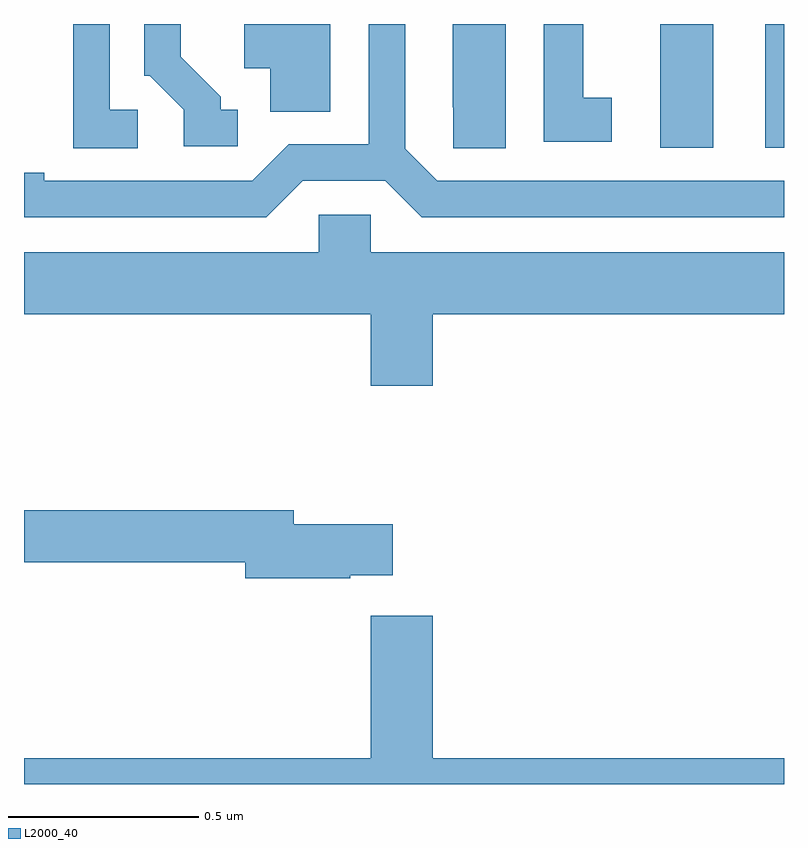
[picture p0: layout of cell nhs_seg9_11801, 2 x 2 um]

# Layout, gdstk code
import gdstk
lib = gdstk.Library(unit=1e-6, precision=1e-09)
def R(c, l, rs):  # rectangles x0, y0, x1, y1
    for r in rs: c.add(gdstk.rectangle(r[:2], r[2:], *l))
def P(c, l, *ps):  # polygons
    for p in ps: c.add(gdstk.Polygon(p, *l))
L2000_40 = (2000, 40)

nhs_seg9_11801 = lib.new_cell('nhs_seg9_11801')
R(nhs_seg9_11801, L2000_40, [(261.674,1214.175,261.814,1214.5), (261.95,1214.175,262,1214.5)])
P(nhs_seg9_11801, L2000_40, [(261.268,1214.5),(261.128,1214.5),(261.128,1214.281),(261.129,1214.281),(261.129,1214.173),(261.268,1214.173)],
  [(260.806,1214.5),(260.579,1214.5),(260.579,1214.384),(260.648,1214.384),(260.648,1214.269),(260.806,1214.269)],
  [(260.299,1214.274),(260.226,1214.274),(260.226,1214.5),(260.129,1214.5),(260.129,1214.173),(260.299,1214.173)],
  [(260.563,1214.274),(260.518,1214.274),(260.518,1214.309),(260.413,1214.414),(260.413,1214.5),(260.316,1214.5),(260.316,1214.364),(260.331,1214.364),(260.421,1214.274),(260.421,1214.178),(260.563,1214.178)],
  [(261.547,1214.306),(261.472,1214.306),(261.472,1214.5),(261.368,1214.5),(261.368,1214.19),(261.547,1214.19)],
  [(260.733,1214.088),(260.951,1214.088),(261.047,1213.992),(262,1213.992),(262,1214.088),(261.087,1214.088),(261.003,1214.172),(261.003,1214.5),(260.907,1214.5),(260.907,1214.184),(260.697,1214.184),(260.601,1214.088),(260.053,1214.088),(260.053,1214.108),(260,1214.108),(260,1213.992),(260.637,1213.992)],
  [(261.076,1213.736),(262,1213.736),(262,1213.9),(260.913,1213.9),(260.913,1213.998),(260.775,1213.998),(260.775,1213.9),(260,1213.9),(260,1213.736),(260.912,1213.736),(260.912,1213.548),(261.076,1213.548)],
  [(260.858,1213.049),(260.971,1213.049),(260.971,1213.184),(260.71,1213.184),(260.71,1213.22),(260,1213.22),(260,1213.084),(260.582,1213.084),(260.582,1213.042),(260.858,1213.042)],
  [(262,1212.568),(261.076,1212.568),(261.076,1212.943),(260.912,1212.943),(260.912,1212.568),(260,1212.568),(260,1212.5),(262,1212.5)])

lib.write_gds('nhs_seg9_11801.gds')
